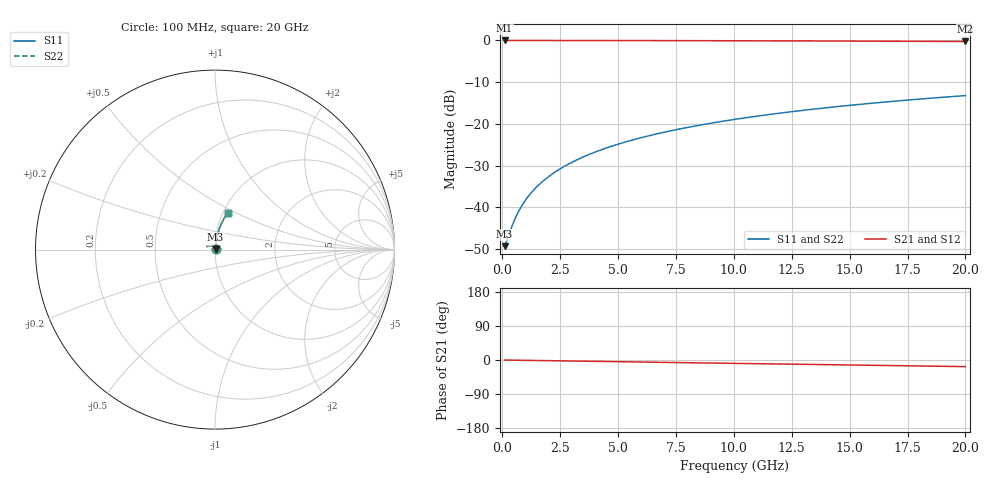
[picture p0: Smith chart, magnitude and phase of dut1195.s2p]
! Touchstone file exported from HFSS 2026.1.0
!  File:  C:/ffzhzh/LocalFiles/Ansys_Project_Files/temp_train_BSMRDL_1195_1783176389_18472.aedt
!  Generated:  10:47:45 PM Jul  4, 2026
!  Design:  BSMRDL
!  Project:  temp_train_BSMRDL_1195_1783176389_18472
! Variables:
!  h_bsmrdl = 2.23um
!  h_ox = 20um
!  h_rdl = 5um
!  h_sub = 80um
!  h_tmrdl = 5um
!  h_tsv = 80um
!  h_via = 3um
!  l_bsmrdl = 189.95um
!  l_sub = 589.95um
!  l_tmrdl = 200um
!  m_sub = 200um
!  pitch = 36.05um
!  r_tsv = 6um
!  s_tmrdl = 10um
!  w_bsmrdl = 10.05um
!  w_sub = 500um
!  w_tmrdl = 12um
!  x_tsv_center1 = 206um
!  x_tsv_center2 = 406um
!  x_tsv_center3 = 618um
!  x_tsv_center4 = 818um
!  x_tsv_center5 = 1030um
!  x_tsv_center6 = 1230um
# GHz S MA R 50.000000
! Terminal data exported
! Port[1] = BSM_RDL1_1_T1
! Port[2] = BSM_RDL1_1_T2
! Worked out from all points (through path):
!   200 points, 100 MHz to 20 GHz, reference 50 ohm
!   highest |S21| = -0.03 dB at 100 MHz (marker M1); lowest = -0.3 dB at 20 GHz (marker M2)
!   group delay of S21, straight-line fit = 2.42 ps
!   lowest |S11| = -49.3 dB at 100 MHz (marker M3), VSWR 1.01, Z = 50.3 + j0.12 ohm
!   |S11| at or under -10 dB: start of sweep to end of sweep
!   |S22| runs from -49.3 to -13.2 dB; largest |S21 - S12| = 3.6e-15
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0.1  0.003445 20.2  0.9968 -0.1  0.9968 -0.1  0.003445 20.2
! Gamma 0 0 0 0
! Port Impedance 50 0 50 0
0.2  0.004029 36.2  0.9968 -0.2  0.9968 -0.2  0.004029 36.2
0.4  0.005788 55.0  0.9967 -0.4  0.9967 -0.4  0.005788 55.0
0.5  0.006804 60.3  0.9967 -0.5  0.9967 -0.5  0.006804 60.3
0.7  0.008939 67.0  0.9966 -0.6  0.9966 -0.6  0.008939 67.0
0.8  0.01003 69.3  0.9965 -0.7  0.9965 -0.7  0.01003 69.3
1  0.01224 72.5  0.9964 -0.9  0.9964 -0.9  0.01224 72.5
1.3  0.01557 75.5  0.9963 -1.2  0.9963 -1.2  0.01557 75.5
1.7  0.02004 77.9  0.9961 -1.5  0.9961 -1.5  0.02004 77.9
2.2  0.02565 79.6  0.9959 -2.0  0.9959 -2.0  0.02565 79.6
2.8  0.03241 80.7  0.9956 -2.5  0.9956 -2.5  0.03241 80.7
3.5  0.0403 81.3  0.9953 -3.1  0.9953 -3.1  0.0403 81.3
4.2  0.0482 81.5  0.9948 -3.8  0.9948 -3.8  0.0482 81.5
5  0.05722 81.4  0.9943 -4.5  0.9943 -4.5  0.05722 81.4
5.9  0.06734 81.1  0.9935 -5.3  0.9935 -5.3  0.06734 81.1
6.8  0.07743 80.7  0.9926 -6.1  0.9926 -6.1  0.07743 80.7
8.3  0.09415 79.8  0.991 -7.4  0.991 -7.4  0.09415 79.8
10.1  0.114 78.5  0.9886 -9.0  0.9886 -9.0  0.114 78.5
11.7  0.1315 77.3  0.9861 -10.4  0.9861 -10.4  0.1315 77.3
13.4  0.1498 76.0  0.9832 -11.8  0.9832 -11.8  0.1498 76.0
16.7  0.1846 73.4  0.9766 -14.7  0.9766 -14.7  0.1846 73.4
20  0.2183 70.7  0.969 -17.4  0.969 -17.4  0.2183 70.7
